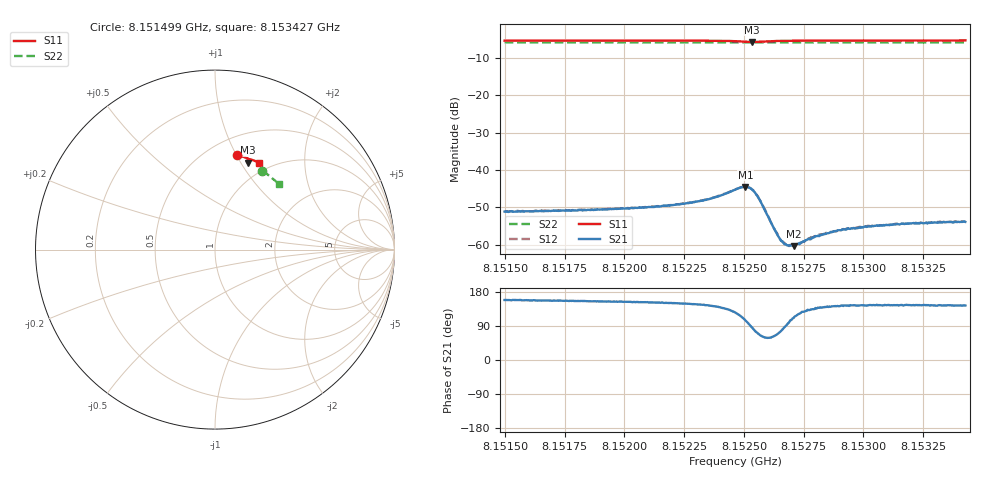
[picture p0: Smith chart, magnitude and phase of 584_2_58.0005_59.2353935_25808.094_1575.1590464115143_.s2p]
#  HZ  S  RI  R  50.00
! Rohde & Schwarz Vector Network Analyzer
! Rohde-Schwarz,ZNB20-2Port,1311601062101988,3.16
! Created: UTC 3/21/2024, 1:16:26 AM
! freq[Hz]  re:S11  im:S11  re:S21  im:S21  re:S12  im:S12  re:S22  im:S22
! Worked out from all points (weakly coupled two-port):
!   401 points, 8.151499 GHz to 8.153427 GHz, reference 50 ohm
!   highest |S21| = -44.50 dB at 8.152506 GHz (marker M1); lowest = -60.4 dB at 8.152709 GHz (marker M2)
!   lowest |S11| = -5.7 dB at 8.152535 GHz (marker M3), VSWR 3.14, Z = 40.6 + j53.7 ohm
!   |S11| at or under -10 dB: nowhere
!   |S22| runs from -5.9 to -5.8 dB; largest |S21 - S12| = 0.00014
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8.1514985e9  0.124 0.5255  -0.00258 0.00102  -0.00258 0.00106  0.261 0.4399
8.1518215e9  0.1464 0.52  -0.00264 0.00118  -0.00269 0.00124  0.2781 0.4287
8.1521445e9  0.1695 0.5133  -0.00287 0.00156  -0.00286 0.0016  0.295 0.4167
8.1523326e9  0.1845 0.5068  -0.00328 0.00222  -0.00322 0.00229  0.3048 0.4094
8.1524001e9  0.1905 0.5022  -0.00342 0.00295  -0.00341 0.00305  0.3081 0.4064
8.1524627e9  0.1949 0.4936  -0.00317 0.00442  -0.00313 0.00449  0.3112 0.4038
8.1525061e9  0.1912 0.4847  -0.00151 0.00576  -0.00146 0.00581  0.3129 0.4018
8.152535e9  0.1831 0.4838  0.000463 0.0054  0.000588 0.00546  0.3141 0.4009
8.1525495e9  0.1797 0.4864  0.00127 0.00466  0.00131 0.00467  0.3145 0.4005
8.1525688e9  0.1781 0.4912  0.00164 0.00348  0.00166 0.00349  0.3154 0.4
8.1526315e9  0.1846 0.5008  0.000646 0.00138  0.000689 0.00136  0.3189 0.3977
8.1526556e9  0.1879 0.5019  0.000257 0.0011  0.000274 0.0011  0.32 0.3968
8.1526797e9  0.1909 0.5022  -4.82e-05 0.000983  -3.26e-05 0.00103  0.3212 0.3957
8.1527086e9  0.194 0.5023  -0.000354 0.000889  -0.00035 0.000907  0.3227 0.3945
8.1527327e9  0.1966 0.502  -0.000539 0.000856  -0.000534 0.000908  0.3239 0.3936
8.1527857e9  0.2016 0.5011  -0.000859 0.000889  -0.000868 0.000866  0.3266 0.3912
8.1528725e9  0.2085 0.499  -0.00117 0.000924  -0.00117 0.00094  0.3308 0.3878
8.1529255e9  0.2126 0.4978  -0.00129 0.000947  -0.00127 0.00098  0.3333 0.3854
8.1530123e9  0.2188 0.4955  -0.00139 0.00103  -0.00141 0.00105  0.3373 0.3817
8.1531087e9  0.2254 0.4928  -0.00149 0.00105  -0.00151 0.00107  0.3419 0.3774
8.1533112e9  0.2388 0.4871  -0.00159 0.00116  -0.00161 0.0012  0.3511 0.3685
8.1534269e9  0.2463 0.4835  -0.00163 0.00119  -0.00162 0.0012  0.3563 0.3634
